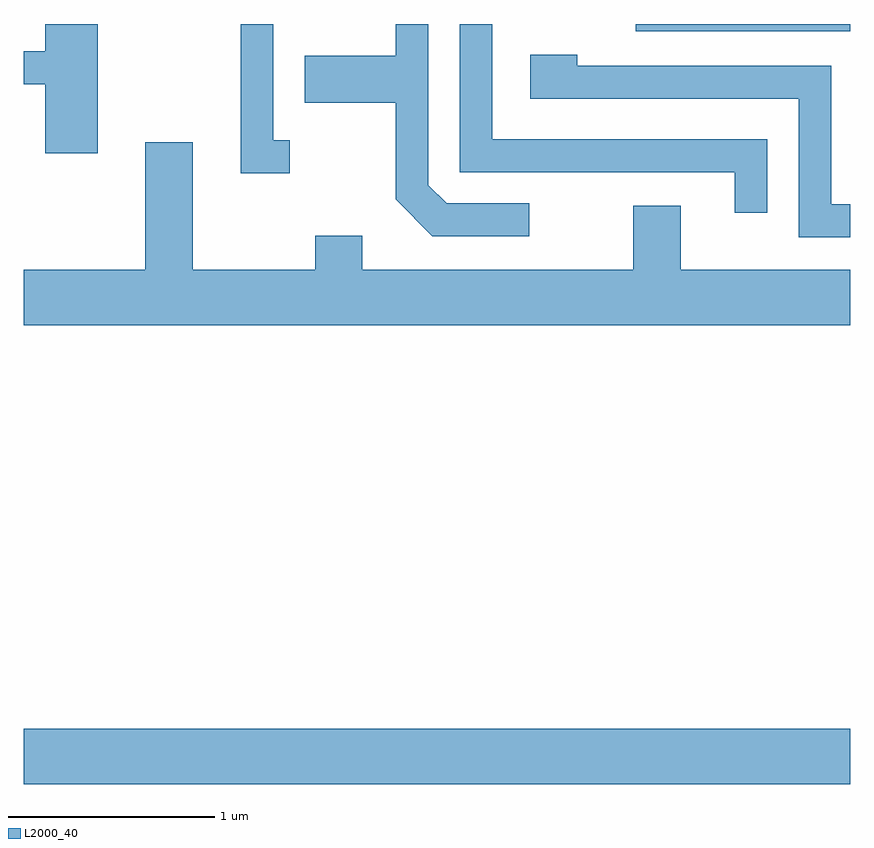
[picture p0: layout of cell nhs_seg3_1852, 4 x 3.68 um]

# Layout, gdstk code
import gdstk
lib = gdstk.Library(unit=1e-6, precision=1e-09)
def R(c, l, rs):  # rectangles x0, y0, x1, y1
    for r in rs: c.add(gdstk.rectangle(r[:2], r[2:], *l))
def P(c, l, *ps):  # polygons
    for p in ps: c.add(gdstk.Polygon(p, *l))
L2000_40 = (2000, 40)

nhs_seg3_1852 = lib.new_cell('nhs_seg3_1852')
R(nhs_seg3_1852, L2000_40, [(239.611,1148.216,243.611,1148.484), (242.573,1151.856,243.611,1151.892)])
P(nhs_seg3_1852, L2000_40, [(239.969,1151.892),(239.716,1151.892),(239.716,1151.759),(239.611,1151.759),(239.611,1151.601),(239.716,1151.601),(239.716,1151.266),(239.969,1151.266)],
  [(243.209,1151.334),(241.879,1151.334),(241.879,1151.892),(241.721,1151.892),(241.721,1151.176),(243.051,1151.176),(243.051,1150.978),(243.209,1150.978)],
  [(242.058,1151.024),(241.657,1151.024),(241.569,1151.112),(241.569,1151.892),(241.411,1151.892),(241.411,1151.739),(240.971,1151.739),(240.971,1151.511),(241.411,1151.511),(241.411,1151.044),(241.589,1150.866),(242.058,1150.866)],
  [(240.898,1151.329),(240.819,1151.329),(240.819,1151.892),(240.661,1151.892),(240.661,1151.171),(240.898,1151.171)],
  [(243.611,1151.019),(243.519,1151.019),(243.519,1151.689),(242.289,1151.689),(242.289,1151.744),(242.061,1151.744),(242.061,1151.531),(243.361,1151.531),(243.361,1150.861),(243.611,1150.861)],
  [(243.611,1150.704),(242.789,1150.704),(242.789,1151.014),(242.561,1151.014),(242.561,1150.704),(241.249,1150.704),(241.249,1150.869),(241.021,1150.869),(241.021,1150.704),(240.429,1150.704),(240.429,1151.319),(240.201,1151.319),(240.201,1150.704),(239.611,1150.704),(239.611,1150.436),(243.611,1150.436)])

lib.write_gds('nhs_seg3_1852.gds')
